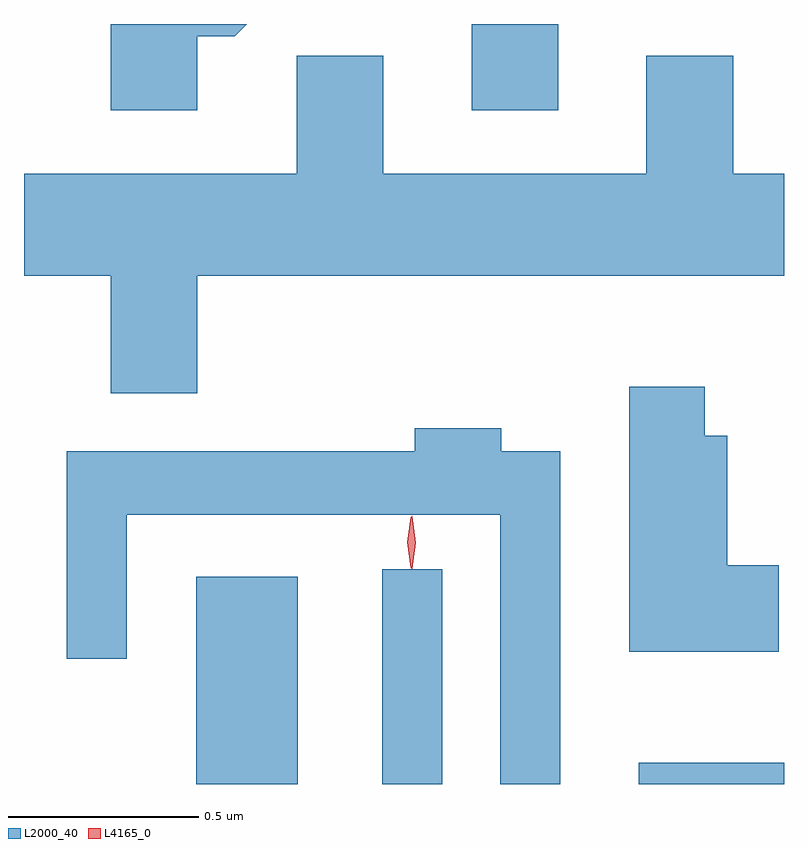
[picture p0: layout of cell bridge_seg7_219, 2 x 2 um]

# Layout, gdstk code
import gdstk
lib = gdstk.Library(unit=1e-6, precision=1e-09)
def R(c, l, rs):  # rectangles x0, y0, x1, y1
    for r in rs: c.add(gdstk.rectangle(r[:2], r[2:], *l))
def P(c, l, *ps):  # polygons
    for p in ps: c.add(gdstk.Polygon(p, *l))
L2000_40 = (2000, 40)
L4165_0 = (4165, 0)

bridge_seg7_219 = lib.new_cell('bridge_seg7_219')
R(bridge_seg7_219, L2000_40, [(1501.016,1706.318,1501.284,1706.864), (1501.506,1706.318,1501.664,1706.883), (1502.181,1706.318,1502.563,1706.374), (1501.741,1708.091,1501.969,1708.318)])
P(bridge_seg7_219, L2000_40, [(1501.019,1708.286),(1501.117,1708.286),(1501.149,1708.318),(1500.791,1708.318),(1500.791,1708.091),(1501.019,1708.091)],
  [(1501.019,1707.656),(1502.563,1707.656),(1502.563,1707.924),(1502.429,1707.924),(1502.429,1708.234),(1502.201,1708.234),(1502.201,1707.924),(1501.509,1707.924),(1501.509,1708.234),(1501.281,1708.234),(1501.281,1707.924),(1500.563,1707.924),(1500.563,1707.656),(1500.791,1707.656),(1500.791,1707.346),(1501.019,1707.346)],
  [(1502.549,1706.894),(1502.414,1706.894),(1502.414,1707.234),(1502.354,1707.234),(1502.354,1707.364),(1502.156,1707.364),(1502.156,1706.666),(1502.549,1706.666)],
  [(1501.974,1707.194),(1501.819,1707.194),(1501.819,1707.254),(1501.591,1707.254),(1501.591,1707.194),(1500.676,1707.194),(1500.676,1706.648),(1500.834,1706.648),(1500.834,1707.026),(1501.816,1707.026),(1501.816,1706.318),(1501.974,1706.318)])
P(bridge_seg7_219, L4165_0, [(1501.584,1706.884),(1501.584,1706.884),(1501.574,1706.953),(1501.584,1707.022),(1501.584,1707.023),(1501.585,1707.022),(1501.594,1706.953),(1501.585,1706.884)],
  [(1501.581,1706.887),(1501.572,1706.954),(1501.581,1707.02),(1501.582,1707.02),(1501.582,1707.02),(1501.592,1706.954),(1501.582,1706.887),(1501.582,1706.887)])

lib.write_gds('bridge_seg7_219.gds')
